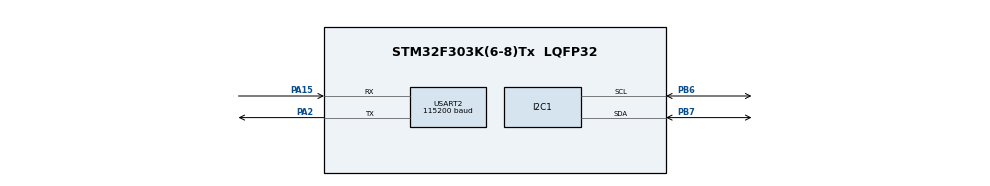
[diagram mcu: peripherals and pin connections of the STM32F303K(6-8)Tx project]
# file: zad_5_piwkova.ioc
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Dma.Request0=USART2_RX
Dma.Request1=USART2_TX
Dma.USART2_RX.0.Direction=DMA_PERIPH_TO_MEMORY
Dma.USART2_RX.0.Instance=DMA1_Channel6
Dma.USART2_RX.0.MemDataAlignment=DMA_MDATAALIGN_BYTE
Dma.USART2_RX.0.MemInc=DMA_MINC_ENABLE
Dma.USART2_RX.0.Mode=DMA_NORMAL
Dma.USART2_RX.0.PeriphDataAlignment=DMA_PDATAALIGN_BYTE
Dma.USART2_RX.0.PeriphInc=DMA_PINC_DISABLE
Dma.USART2_RX.0.Priority=DMA_PRIORITY_MEDIUM
Dma.USART2_TX.1.Direction=DMA_MEMORY_TO_PERIPH
Dma.USART2_TX.1.Instance=DMA1_Channel7
Dma.USART2_TX.1.MemDataAlignment=DMA_MDATAALIGN_BYTE
Dma.USART2_TX.1.MemInc=DMA_MINC_ENABLE
Dma.USART2_TX.1.Mode=DMA_NORMAL
Dma.USART2_TX.1.PeriphDataAlignment=DMA_PDATAALIGN_BYTE
Dma.USART2_TX.1.PeriphInc=DMA_PINC_DISABLE
Dma.USART2_TX.1.Priority=DMA_PRIORITY_MEDIUM
I2C1.I2C_Fall_Time=0
I2C1.I2C_Rise_Time=0
Mcu.Family=STM32F3
Mcu.Name=STM32F303K(6-8)Tx
Mcu.Package=LQFP32
NVIC.DMA1_Channel6_IRQn=true\:0\:0\:false\:false\:true\:false\:true\:true
NVIC.DMA1_Channel7_IRQn=true\:0\:0\:false\:false\:true\:false\:true\:true
NVIC.I2C1_EV_IRQn=true\:0\:0\:false\:false\:true\:true\:true\:true
NVIC.PriorityGroup=NVIC_PRIORITYGROUP_4
PA15.Mode=Asynchronous
PA15.Signal=USART2_RX
PA2.Mode=Asynchronous
PA2.Signal=USART2_TX
PB6.Mode=I2C
PB6.Signal=I2C1_SCL
PB7.Mode=I2C
PB7.Signal=I2C1_SDA
ProjectManager.HeapSize=0x200
ProjectManager.StackSize=0x400
ProjectManager.TargetToolchain=STM32CubeIDE
RCC.AHBFreq_Value=8000000
RCC.APB1Freq_Value=8000000
RCC.APB2Freq_Value=8000000
RCC.CortexFreq_Value=8000000
RCC.HSE_VALUE=8000000
RCC.HSI_VALUE=8000000
RCC.SYSCLKFreq_VALUE=8000000
USART2.BaudRate=115200
USART2.VirtualMode-Asynchronous=VM_ASYNC
board=custom

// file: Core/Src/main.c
/* USER CODE BEGIN Header */
/**
  ******************************************************************************
  * @file           : main.c
  * @brief          : Main program body
  ******************************************************************************
  * @attention
  *
  * Copyright (c) 2024 STMicroelectronics.
  * All rights reserved.
  *
  * This software is licensed under terms that can be found in the LICENSE file
  * in the root directory of this software component.
  * If no LICENSE file comes with this software, it is provided AS-IS.
  *
  ******************************************************************************
  */
/* USER CODE END Header */
#include "main.h"
#include "dma.h"
#include "i2c.h"
#include "usart.h"
#include "gpio.h"

/* USER CODE BEGIN Includes */
#include "lps25hb.h"
#include "hts221.h"
#include "stdio.h"
#include "ctype.h"
#include "string.h"
#include "stdlib.h"
/* USER CODE END Includes */

/* USER CODE BEGIN PV */
float temperature = 0;
float humidity = 0;
float pressure = 0;
float relative_altitude = 0;

void sendState();
/* USER CODE END PV */

void SystemClock_Config(void);

int main(void)
{

  /* MCU Configuration--------------------------------------------------------*/

  /* Reset of all peripherals, Initializes the Flash interface and the Systick. */
  LL_APB2_GRP1_EnableClock(LL_APB2_GRP1_PERIPH_SYSCFG);
  LL_APB1_GRP1_EnableClock(LL_APB1_GRP1_PERIPH_PWR);

  /* System interrupt init*/
  NVIC_SetPriorityGrouping(NVIC_PRIORITYGROUP_4);

  /* SysTick_IRQn interrupt configuration */
  NVIC_SetPriority(SysTick_IRQn, NVIC_EncodePriority(NVIC_GetPriorityGrouping(),15, 0));

  /* Configure the system clock */
  SystemClock_Config();

  /* Initialize all configured peripherals */
  MX_GPIO_Init();
  MX_DMA_Init();
  MX_I2C1_Init();
  MX_USART2_UART_Init();

  /* USER CODE BEGIN 2 */

  //initialize sensors
  HTS221_init();
  LPS25HB_init();

  /* USER CODE END 2 */

  /* Infinite loop */
  while (1) {

    /* USER CODE BEGIN 3 */

	 // get values
	 temperature = hts221_get_temperature();
	 humidity = hts221_get_humidity();
	 pressure = lps25hb_get_pressure();
	 relative_altitude = lps25hb_get_altitude(pressure);

	 //send data
	 sendState();
	 LL_mDelay(100);
  }
  /* USER CODE END 3 */
}

void SystemClock_Config(void)
{
  LL_FLASH_SetLatency(LL_FLASH_LATENCY_0);
  while(LL_FLASH_GetLatency()!= LL_FLASH_LATENCY_0)
  {
  }
  LL_RCC_HSI_Enable();

   /* Wait till HSI is ready */
  while(LL_RCC_HSI_IsReady() != 1)
  {

  }
  LL_RCC_HSI_SetCalibTrimming(16);
  LL_RCC_SetAHBPrescaler(LL_RCC_SYSCLK_DIV_1);
  LL_RCC_SetAPB1Prescaler(LL_RCC_APB1_DIV_1);
  LL_RCC_SetAPB2Prescaler(LL_RCC_APB2_DIV_1);
  LL_RCC_SetSysClkSource(LL_RCC_SYS_CLKSOURCE_HSI);

   /* Wait till System clock is ready */
  while(LL_RCC_GetSysClkSource() != LL_RCC_SYS_CLKSOURCE_STATUS_HSI)
  {

  }
  LL_Init1msTick(8000000);
  LL_SetSystemCoreClock(8000000);
  LL_RCC_SetI2CClockSource(LL_RCC_I2C1_CLKSOURCE_HSI);
}

/* USER CODE BEGIN 4 */
void sendState() {
    // state message
    char message[100];

    snprintf(message, sizeof(message), "%.1f, %.0f, %.2f, %.2f\r\n",temperature, humidity, pressure, relative_altitude);
    message[sizeof(message) - 1] = '\0';
    for (int i = 0; message[i] != '\0'; i++) {
            // Wait until USART buffer is empty before transmitting
            while (!(USART2->ISR & USART_ISR_TXE));

            // Transmit the character
            USART2->TDR = message[i];
        }
    //USART2_PutBuffer((uint8_t*)message, strlen(message));
}
/* USER CODE END 4 */

void Error_Handler(void)
{
  __disable_irq();
  while (1)
  {
  }
}
